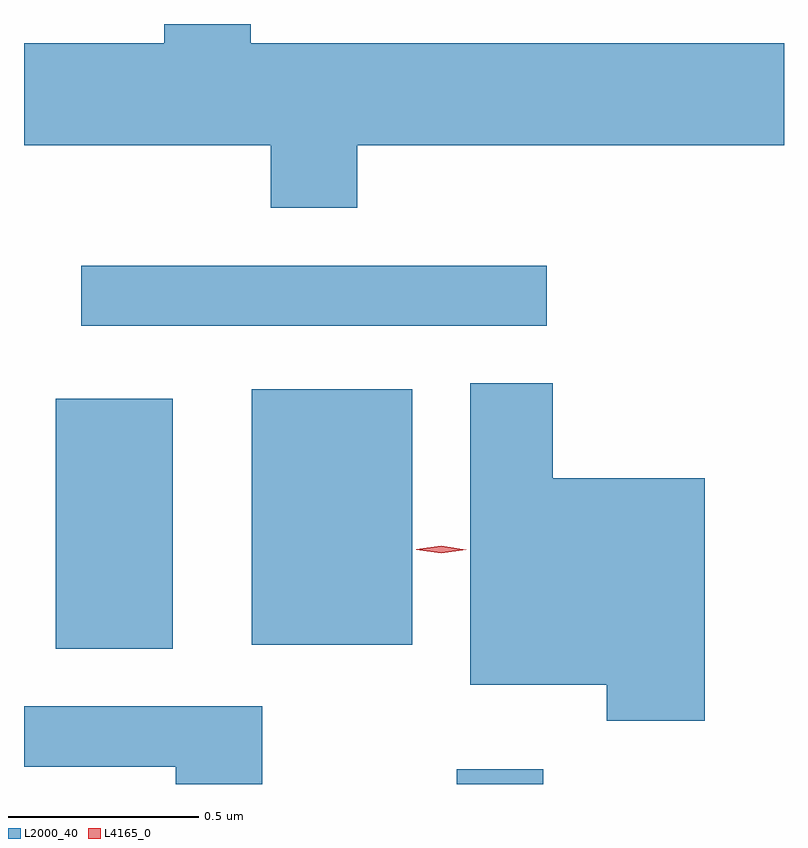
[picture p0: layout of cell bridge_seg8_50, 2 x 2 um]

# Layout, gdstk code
import gdstk
lib = gdstk.Library(unit=1e-6, precision=1e-09)
def R(c, l, rs):  # rectangles x0, y0, x1, y1
    for r in rs: c.add(gdstk.rectangle(r[:2], r[2:], *l))
def P(c, l, *ps):  # polygons
    for p in ps: c.add(gdstk.Polygon(p, *l))
L2000_40 = (2000, 40)
L4165_0 = (4165, 0)

bridge_seg8_50 = lib.new_cell('bridge_seg8_50')
R(bridge_seg8_50, L2000_40, [(1631.971,1927.975,1632.199,1928.014), (1630.916,1928.331,1631.224,1928.989), (1631.431,1928.341,1631.854,1929.014), (1630.983,1929.181,1632.208,1929.339)])
P(bridge_seg8_50, L2000_40, [(1631.709,1929.656),(1632.832,1929.656),(1632.832,1929.924),(1631.429,1929.924),(1631.429,1929.975),(1631.201,1929.975),(1631.201,1929.924),(1630.832,1929.924),(1630.832,1929.656),(1631.481,1929.656),(1631.481,1929.491),(1631.709,1929.491)],
  [(1632.624,1928.779),(1632.224,1928.779),(1632.224,1929.029),(1632.006,1929.029),(1632.006,1928.236),(1632.366,1928.236),(1632.366,1928.141),(1632.624,1928.141)],
  [(1631.459,1928.179),(1630.832,1928.179),(1630.832,1928.021),(1631.231,1928.021),(1631.231,1927.975),(1631.459,1927.975)])
P(bridge_seg8_50, L4165_0, [(1631.93,1928.582),(1631.864,1928.592),(1631.864,1928.592),(1631.864,1928.593),(1631.93,1928.602),(1631.996,1928.592),(1631.996,1928.592),(1631.996,1928.591)])

lib.write_gds('bridge_seg8_50.gds')
